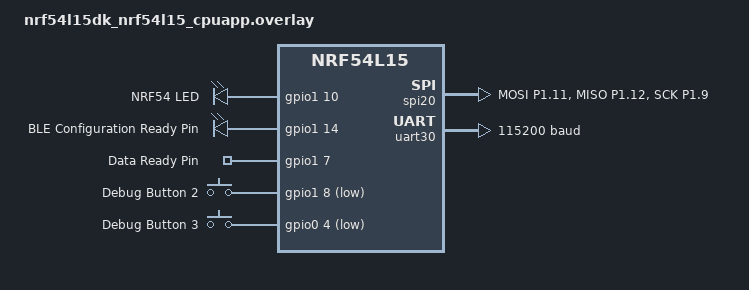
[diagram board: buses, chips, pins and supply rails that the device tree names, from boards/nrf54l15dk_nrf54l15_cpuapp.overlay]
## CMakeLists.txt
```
#
# Copyright (c) 2018 Nordic Semiconductor
#
# SPDX-License-Identifier: LicenseRef-Nordic-5-Clause
#
cmake_minimum_required(VERSION 3.20.0)

find_package(Zephyr REQUIRED HINTS $ENV{ZEPHYR_BASE})
project(us_probe)

# NORDIC SDK APP START
target_sources(app PRIVATE
    src/main.c
    src/ble.c
    src/mesh.c
    src/spi.c
    src/helper.c
    src/testfunctions.c
    src/timehelper.c
)
target_include_directories(app PRIVATE include)
# NORDIC SDK APP END
```

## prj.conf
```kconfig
# Debugging
# CONFIG_DEBUG=y
# CONFIG_DEBUG_THREAD_INFO=y
# CONFIG_CORTEX_M_DEBUG_MONITOR_HOOK=y
# CONFIG_SEGGER_DEBUGMON=y
# DEBUG_COREDUMP=y
# DEBUG_COREDUMP_BACKEND_LOGGING=y

# Show Utilization
# CONFIG_THREAD_ANALYZER=y
# CONFIG_THREAD_ANALYZER_USE_PRINTK=y
# CONFIG_THREAD_ANALYZER_AUTO=y
# CONFIG_THREAD_ANALYZER_AUTO_INTERVAL=5

# Enable BT
CONFIG_BT=y
CONFIG_BT_DEVICE_NAME="WULPUS unprovisioned"
CONFIG_BT_DEVICE_NAME_DYNAMIC=y
CONFIG_BT_DEVICE_NAME_MAX=32
CONFIG_BT_NUS=y
CONFIG_BT_PERIPHERAL=y
CONFIG_BT_OBSERVER=y
CONFIG_BT_BROADCASTER=y
CONFIG_BT_GAP_AUTO_UPDATE_CONN_PARAMS=y
CONFIG_BT_CTLR_PRIVACY=n
# Enable storing settings in flash
CONFIG_BT_SETTINGS=y
CONFIG_FLASH=y
CONFIG_FLASH_PAGE_LAYOUT=y
CONFIG_FLASH_MAP=y
CONFIG_NVS=y
CONFIG_SETTINGS=y
CONFIG_SETTINGS_NVS=y
CONFIG_SOC_FLASH_NRF=y
CONFIG_MPU_ALLOW_FLASH_WRITE=y
# Use NVS backend for settings, not PSA storage
CONFIG_MBEDTLS_PSA_CRYPTO_STORAGE_C=n
# Optimizing for high throughput
CONFIG_BT_USER_PHY_UPDATE=y
CONFIG_BT_PERIPHERAL_PREF_MIN_INT=6
CONFIG_BT_PERIPHERAL_PREF_MAX_INT=10
CONFIG_BT_PERIPHERAL_PREF_LATENCY=0
CONFIG_BT_PERIPHERAL_PREF_TIMEOUT=400
CONFIG_BT_ATT_PREPARE_COUNT=5
CONFIG_BT_CTLR_PHY_2M=y
# Enable longer BT messages
CONFIG_BT_L2CAP_TX_MTU=220
CONFIG_BT_BUF_ACL_TX_SIZE=224
CONFIG_BT_BUF_ACL_RX_SIZE=230
CONFIG_BT_CTLR_DATA_LENGTH_MAX=211

# Enable BT Mesh
CONFIG_BT_MESH=y
CONFIG_BT_MESH_MODEL_EXTENSIONS=y
CONFIG_BT_MESH_RELAY=y
CONFIG_BT_MESH_FRIEND=y
CONFIG_BT_MESH_PB_GATT=y
CONFIG_BT_MESH_PB_ADV=y
CONFIG_BT_MESH_GATT_PROXY=y
CONFIG_BT_MESH_PROXY_USE_DEVICE_NAME=n
CONFIG_BT_MESH_TIME_SRV=y
CONFIG_BT_MESH_TIME_SRV_PERSISTENT=y
CONFIG_BT_MESH_TIME_CLI=y
CONFIG_BT_MESH_DEFAULT_TTL=7
CONFIG_BT_MESH_DK_PROV=y
# Allow self-provisioning
CONFIG_BT_MESH_CFG_CLI=y
CONFIG_BT_MESH_TX_SEG_MAX=32
CONFIG_BT_MESH_TX_SEG_MSG_COUNT=100
CONFIG_BT_MESH_RX_SEG_MAX=32
CONFIG_BT_MESH_RX_SEG_MSG_COUNT=100
CONFIG_BT_MESH_ADV_BUF_COUNT=256
# Decrese rettrasnmit attempts to reduce congestion
CONFIG_BT_MESH_NETWORK_TRANSMIT_COUNT=1
# Increase (system workqueue) stack for BLE Mesh
CONFIG_SYSTEM_WORKQUEUE_STACK_SIZE=4096
CONFIG_BT_MESH_ADV_STACK_SIZE=4096
CONFIG_BT_RX_STACK_SIZE=4096
# Allow parallel GATT and Mesh
CONFIG_BT_EXT_ADV=y
CONFIG_BT_MAX_CONN=3
CONFIG_BT_ID_MAX=2
# (5 sets are used by Bluetooth Mesh, 1 is needed for the GATT advertisement)
CONFIG_BT_EXT_ADV_MAX_ADV_SET=6 
# (Enable Hardware Info for Bluetooth ID)
CONFIG_HWINFO=y

CONFIG_BT_PRIVACY=n
# Enable GPIO
CONFIG_GPIO=y

# Log to RTT
CONFIG_LOG=y
CONFIG_LOG_DEFAULT_LEVEL=3
CONFIG_USE_SEGGER_RTT=y
CONFIG_LOG_BACKEND_RTT=y
CONFIG_LOG_PRINTK=y
CONFIG_RTT_CONSOLE=y

CONFIG_MAIN_STACK_SIZE=4096
CONFIG_SEGGER_RTT_BUFFER_SIZE_UP=4096


# Enable Asserts
CONFIG_ASSERT=y

# Memory optimization
# CONFIG_MAIN_STACK_SIZE=512
# CONFIG_IDLE_STACK_SIZE=256   
```

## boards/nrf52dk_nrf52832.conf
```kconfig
# Board-specific configuration
# Enable SPI Master role at SPI1
CONFIG_NRFX_SPIM1=y

# Enable PPI (Programmable Peripheral Interconnect)
CONFIG_NRFX_PPI=y
```

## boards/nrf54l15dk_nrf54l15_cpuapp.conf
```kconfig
# Board-specific configuration for nRF54L15
# Enable SPI Master role at SPIM20 (nRF54L15 doesn't have SPIM1)
CONFIG_NRFX_SPIM20=y
```

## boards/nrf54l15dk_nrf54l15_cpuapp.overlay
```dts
/ {
    aliases {
        led0 = &led_nrf54;
        data-ready = &data_ready_pin;
        ble-cnfg-ready = &ble_cnfg_ready_pin;
        spi-conn = &spi20;
    };

    chosen {
        // Override default console/shell to use UART30 instead of UART20
        // This allows SPI20 to be used without conflict
        zephyr,console = &uart30;
        zephyr,shell-uart = &uart30;
        zephyr,uart-mcumgr = &uart30;
        zephyr,bt-mon-uart = &uart30;
        zephyr,bt-c2h-uart = &uart30;
        nordic,nus-uart = &uart30;
    };

    leds {
        compatible = "gpio-leds";
        led_nrf54: led_nrf54 {
            gpios = <&gpio1 10 GPIO_ACTIVE_HIGH>;
            label = "NRF54 LED";
        };

        ble_cnfg_ready_pin: ble_cnfg_ready_pin {
            gpios = <&gpio1 14 GPIO_ACTIVE_HIGH>;
            label = "BLE Configuration Ready Pin";
        };
    };

    buttons {
        compatible = "gpio-keys";
        data_ready_pin: data_ready_pin {
            gpios = <&gpio1 7 (GPIO_ACTIVE_HIGH | GPIO_PULL_DOWN)>;
            label = "Data Ready Pin";
        };
        dbg_button_2: dbg_button_2 {
            gpios = <&gpio1 8 (GPIO_ACTIVE_LOW | GPIO_PULL_UP)>;
            label = "Debug Button 2";
        };
        dbg_button_3: dbg_button_3 {
            gpios = <&gpio0 4 (GPIO_ACTIVE_LOW | GPIO_PULL_UP)>;
            label = "Debug Button 3";
        };
    };
};

&pinctrl {
    spi_master_default: spi_master_default {
        group1 {
            psels = <NRF_PSEL(SPIM_MOSI, 1, 11)>,
                    <NRF_PSEL(SPIM_MISO, 1, 12)>,
                    <NRF_PSEL(SPIM_SCK, 1, 9)>;
        };
    };

    spi_master_sleep: spi_master_sleep {
        group1 {
            psels = <NRF_PSEL(SPIM_MOSI, 1, 11)>,
                    <NRF_PSEL(SPIM_MISO, 1, 12)>,
                    <NRF_PSEL(SPIM_SCK, 1, 9)>;
            low-power-enable;
        };
    };
};

&uart20 {
    status = "disabled";
};

&spi20 {
    status = "okay";
    compatible = "nordic,nrf-spim";
    pinctrl-0 = <&spi_master_default>;
    pinctrl-1 = <&spi_master_sleep>;
    pinctrl-names = "default", "sleep";
};

// UART30 for console/shell/RTT (has default pinctrl)
&uart30 {
    status = "okay";
    current-speed = <115200>;
};
```

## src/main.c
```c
#include <bluetooth/mesh/models.h>
#include <bluetooth/services/nus.h>
#include <stdlib.h>
#include <zephyr/bluetooth/bluetooth.h>
#include <zephyr/bluetooth/mesh.h>
#include <zephyr/drivers/gpio.h>
#include <zephyr/drivers/hwinfo.h>
#include <zephyr/kernel.h>
#include <zephyr/logging/log.h>
#include <zephyr/settings/settings.h>

#include "ble.h"
#include "helper.h"
#include "main.h"
#include "mesh.h"
#include "spi.h"
#include "testfunctions.h"

LOG_MODULE_REGISTER(main);

// --- GPIOs ---
const struct gpio_dt_spec ble_cnfg_ready =
    GPIO_DT_SPEC_GET(BLE_CNFG_READY_NODE, gpios);
const struct gpio_dt_spec led = GPIO_DT_SPEC_GET(LED_NODE, gpios);
const struct gpio_dt_spec data_ready = GPIO_DT_SPEC_GET(DATA_READY_NODE, gpios);
const struct gpio_dt_spec dbg_button_2 =
    GPIO_DT_SPEC_GET(DBG_BUTTON_2_NODE, gpios);
const struct gpio_dt_spec dbg_button_3 =
    GPIO_DT_SPEC_GET(DBG_BUTTON_3_NODE, gpios);

// callback for data-ready GPIO interrupt, triggering SPIM transfer
struct gpio_callback data_ready_cb;
struct gpio_callback dbg_button_2_cb;
struct gpio_callback dbg_button_3_cb;

int64_t last_gpio_interrupt_time = 0;
static void gpio_interrupt_handler(const struct device *dev,
                                   struct gpio_callback *cb, uint32_t pins)
{
    int64_t const dt_now = k_uptime_get();
    int64_t const delta = dt_now - last_gpio_interrupt_time;
    LOG_INF("GPIO interrupt - dt since last: %lldms", delta);
    LOG_DBG("GPIO interrupt data_ready: trigger SPI session thread");
    if (delta < MIN_INTERRUPT_INTERVAL_MS)
    {
        LOG_WRN("Ignoring spurious interrupt (dt=%lldms < %dms)", delta,
                MIN_INTERRUPT_INTERVAL_MS);
        return;
    }
    last_gpio_interrupt_time = dt_now;
    k_sem_give(&data_ready_trigger_sem);
}

static void button_2_work_handler(struct k_work *work)
{
    LOG_INF("Button 2 pressed");
    LOG_INF("Sending start-config");
    uint8_t mock_config[] = {0x01, 0x02, 0x03, 0x04, 0x05, 0x06, 0x07, 0x08,
                             0x09, 0x0A, 0x0B, 0x0C, 0x0D, 0x0E, 0x0F, 0x10};
    mesh_publish_config(mock_config, sizeof(mock_config));
    apply_config(mock_config, sizeof(mock_config));
}

K_WORK_DEFINE(button_2_work, button_2_work_handler);

static void button_3_work_handler(struct k_work *work)
{
    LOG_INF("Button 3 pressed");
    LOG_INF("Sending stop-config");
    uint8_t mock_config[] = {0x00, 0x00, 0x00, 0x00, 0x00, 0x00, 0x00, 0x00,
                             0x00, 0x00, 0x00, 0x00, 0x00, 0x00, 0x00, 0x00,
                             0x00, 0x00, 0x00, 0x00, 0x00, 0x00, 0x00, 0x00};
    mesh_publish_config(mock_config, sizeof(mock_config));
    apply_config(mock_config, sizeof(mock_config));
}

K_WORK_DEFINE(button_3_work, button_3_work_handler);

static void dbg_button_2_handler(const struct device *dev,
                                 struct gpio_callback *cb, uint32_t pins)
{
    k_work_submit(&button_2_work);
}

static void dbg_button_3_handler(const struct device *dev,
                                 struct gpio_callback *cb, uint32_t pins)
{
    k_work_submit(&button_3_work);
}

// --- Mesh -------------------------------------
uint16_t addr;
static const uint16_t net_idx;
static const uint32_t iv_index;
static uint8_t flags;

// --- MAIN -------------------------------------
K_THREAD_DEFINE(ble_tx_thread_id, 2048, ble_tx_thread, NULL, NULL, NULL,
                BLE_TASK_PRIO, 0, 0);
K_THREAD_DEFINE(mesh_tx_thread_id, 4096 * 2, mesh_tx_thread, NULL, NULL, NULL,
                MESH_TX_TASK_PRIO, 0, 0);
K_THREAD_DEFINE(spi_session_thread_id, 2048, spi_session_thread, NULL, NULL,
                NULL, SPI_TASK_PRIO, 0, 0);
K_THREAD_DEFINE(mesh_rand_sender_thread_id, 2048, mesh_rand_sender_thread, NULL,
                NULL, NULL, 7, 0, 0);

int main(void)
{
    LOG_WRN("Start-delay 5s");
    k_sleep(K_MSEC(5000));

    LOG_INF("Starting WULPUS nRF Firmware (%s)", CONFIG_BOARD);
    int err;

    LOG_INF("Initializing GPIOs...");
    if (!gpio_is_ready_dt(&led) || !gpio_is_ready_dt(&data_ready) ||
        !gpio_is_ready_dt(&ble_cnfg_ready) || !gpio_is_ready_dt(&dbg_button_2) ||
        !gpio_is_ready_dt(&dbg_button_3))
    {
        LOG_ERR("GPIO devices not ready.");
        return 0;
    }
    err = gpio_pin_configure_dt(&led, GPIO_OUTPUT_LOW) |
          gpio_pin_configure_dt(&ble_cnfg_ready, GPIO_OUTPUT_LOW) |
          gpio_pin_configure_dt(&data_ready, GPIO_INPUT) |
          gpio_pin_configure_dt(&dbg_button_2, GPIO_INPUT) |
          gpio_pin_configure_dt(&dbg_button_3, GPIO_INPUT);
    if (err < 0)
    {
        LOG_ERR("Error configuring GPIO pins");
        return 0;
    }

    // Register callback first, then enable interrupt to avoid missing edges
    // during setup
    LOG_INF("Setting up data-ready callback");
    gpio_init_callback(&data_ready_cb, gpio_interrupt_handler,
                       BIT(data_ready.pin));
    err = gpio_add_callback_dt(&data_ready, &data_ready_cb);
    if (err)
    {
        LOG_ERR("Error setting up callback: %d", err);
        return err;
    }

    gpio_init_callback(&dbg_button_2_cb, dbg_button_2_handler,
                       BIT(dbg_button_2.pin));
    gpio_add_callback_dt(&dbg_button_2, &dbg_button_2_cb);
    gpio_pin_interrupt_configure_dt(&dbg_button_2, GPIO_INT_EDGE_TO_ACTIVE);

    gpio_init_callback(&dbg_button_3_cb, dbg_button_3_handler,
                       BIT(dbg_button_3.pin));
    gpio_add_callback_dt(&dbg_button_3, &dbg_button_3_cb);
    gpio_pin_interrupt_configure_dt(&dbg_button_3, GPIO_INT_EDGE_TO_ACTIVE);

    LOG_INF("Initializing settings subsystem");
    err = settings_subsys_init();
    if (err)
    {
        LOG_ERR("Failed to initialize settings subsystem: %d\n", err);
        return err;
    }

    LOG_INF("Setting up Bluetooth LE");
    err = bt_nus_init(&nus_callbacks);
    if (err)
    {
        LOG_ERR("Failed to register Bluetooth NUS callback: %d\n", err);
        return err;
    }
    err = bt_enable(NULL);
    if (err)
    {
        LOG_ERR("Failed to enable Bluetooth: %d\n", err);
        return err;
    }

    LOG_INF("Reading config to prepare for Bluetooth LE Mesh");

    if (IS_ENABLED(CONFIG_HWINFO))
    {
        size_t id_len = hwinfo_get_device_id(dev_uuid, 16);
        if (!IS_ENABLED(CONFIG_BT_MESH_DK_LEGACY_UUID_GEN))
        {
            /* If device ID is shorter than UUID size, fill rest of buffer with
             * inverted device ID.
             */
            for (size_t i = id_len; i < 16; i++)
            {
                dev_uuid[i] = dev_uuid[i % id_len] ^ 0xff;
            }
        }
        dev_uuid[6] = (dev_uuid[6] & BIT_MASK(4)) | BIT(6);
        dev_uuid[8] = (dev_uuid[8] & BIT_MASK(6)) | BIT(7);
    }
    else
    {
        LOG_ERR("HWINFO not enable - fallback to default UUID!");
        dev_uuid[0] = 0xdd;
        dev_uuid[1] = 0xdd;
    }
    LOG_INF(
        "Mesh Device UUID: "
        "%02X%02X%02X%02X-%02X%02X-%02X%02X-%02X%02X-%02X%02X%02X%02X%02X%02X",
        dev_uuid[0], dev_uuid[1], dev_uuid[2], dev_uuid[3], dev_uuid[4],
        dev_uuid[5], dev_uuid[6], dev_uuid[7], dev_uuid[8], dev_uuid[9],
        dev_uuid[10], dev_uuid[11], dev_uuid[12], dev_uuid[13], dev_uuid[14],
        dev_uuid[15]);

    char uuid_str[5] = {0};
    snprintf(uuid_str, sizeof(uuid_str), "%02X%02X", dev_uuid[14], dev_uuid[15]);
    addr = (uint16_t)strtol(uuid_str, NULL, 16) & 0x7fff;
    if (addr == 0)
    {
        addr = 1;
    }
    LOG_INF("Using address: 0x%04x (derived from bytes 14-15: %02X%02X)", addr,
            dev_uuid[14], dev_uuid[15]);

    LOG_INF("Initializing GATT device name...");
    ble_init_device_name(addr);

    LOG_INF("Setting up BLE Mesh");
    err = bt_mesh_init(&prov, &comp);
    if (err)
    {
        LOG_ERR("Initializing mesh failed (err %d)\n", err);
        return err;
    }
    if (IS_ENABLED(CONFIG_BT_SETTINGS))
    {
        LOG_INF("restoring the Bluetooth state (e.g. pairing keys)");
        settings_load();
    }
    else
    {
        LOG_WRN("CONFIG_BT_SETTINGS not enabled - won't restore Bluetooth state");
    }

    k_sleep(K_MSEC(100));
    if (!bt_mesh_is_provisioned())
    {
        LOG_INF("Mesh not provisioned yet - self-provisioning now");
        err = bt_mesh_provision(net_key, net_idx, flags, iv_index, addr, dev_key);
    }
    else
    {
        LOG_INF("Mesh already provisioned, using stored settings");
    }
    if (err == -EALREADY)
    {
        LOG_WRN("Using stored settings - configuration already exists");
        // Request gateway address since prov_complete won't be called
        mesh_request_gateway_addr();
    }
    else if (err)
    {
        LOG_ERR("Provisioning failed (err %d)", err);
        return err;
    }
    else
    {
        LOG_INF("Provisioning completed - configuration will be done in prov_complete callback");
    }

    /* This will be a no-op if settings_load() loaded provisioning info */
    bt_mesh_prov_enable(
        (bt_mesh_prov_bearer_t)(BT_MESH_PROV_ADV | BT_MESH_PROV_GATT));

    LOG_INF("Mesh initialized");

    LOG_INF("Starting BLE advertisement");
    err = start_advertise();
    if (err)
    {
        return err;
    }

    us_spi_init();

    // Enable interrupt on rising edge (SPI thread already running)
    err = gpio_pin_interrupt_configure_dt(&data_ready, GPIO_INT_EDGE_TO_ACTIVE);
    if (err < 0)
    {
        LOG_ERR("Error configuring interrupt: %d", err);
        return 0;
    }

    // Initial check if pin is already active -> manually trigger the interrupt
    // (as edge has already passed)
    if (gpio_pin_get_dt(&data_ready) > 0)
    {
        LOG_INF(
            "MSP has data already ready. Triggering data_ready_cb manually once.");
        gpio_interrupt_handler(data_ready.port, &data_ready_cb,
                               BIT(data_ready.pin));
    }

    while (1)
    {
        k_sleep(K_MSEC(1000));
        gpio_pin_toggle_dt(&led);
    }

    return 0;
}
```

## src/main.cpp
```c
#include <zephyr/device.h>
#include <zephyr/devicetree.h>
#include <zephyr/kernel.h>
#include <zephyr/logging/log.h>
#include <zephyr/irq.h>
#include <zephyr/bluetooth/bluetooth.h>
#include <zephyr/bluetooth/mesh.h>
#include <bluetooth/services/nus.h>
#include <zephyr/drivers/hwinfo.h>
#include <nrfx_spim.h>
#include <nrfx_timer.h>
#include <nrfx_ppi.h>
#include <string.h>
#include <zephyr/drivers/gpio.h>
#include <hal/nrf_timer.h>
#include <hal/nrf_spim.h>

#include "main.h"
#include "testfunctions.h"

const struct gpio_dt_spec ble_cnfg_ready = GPIO_DT_SPEC_GET(BLE_CNFG_READY_NODE, gpios);
const struct gpio_dt_spec led = GPIO_DT_SPEC_GET(LED_NODE, gpios);
const struct gpio_dt_spec data_ready = GPIO_DT_SPEC_GET(DATA_READY_NODE, gpios);

LOG_MODULE_REGISTER(main);

static K_MUTEX_DEFINE(tx_buffer_mutex);

// --- SPIM -------------------------------------
static uint8_t m_tx_buffer[BYTES_PR_XFER_TX * CHUNKS_PER_FRAME] = {0};
static uint8_t m_rx_buffer[BYTES_PR_XFER_RX * CHUNKS_PER_FRAME] = {0};

static const nrfx_spim_t spim_inst = NRFX_SPIM_INSTANCE(SPIM_INST_IDX);

// Semaphore to serialize sessions triggered by the data-ready IRQ
static struct k_sem single_session;
// Semaphore signaled on SPI transfer completion
static struct k_sem spi_done_sem;
// Semaphore to trigger SPI session thread from GPIO interrupt
static K_SEM_DEFINE(data_ready_trigger_sem, 0, 1);

static void spim_handler(nrfx_spim_evt_t const *p_event, void *p_context)
{
    if (p_event->type == NRFX_SPIM_EVENT_DONE)
    {
        // Signal that transfer is complete
        k_sem_give(&spi_done_sem);
    }
}

static void us_spi_init(void)
{
    LOG_INF("Starting SPI initialization");
    nrfx_err_t err;

    // Initialize SPIM
    nrfx_spim_config_t spim_config = NRFX_SPIM_DEFAULT_CONFIG(SCK_PIN,
                                                              MOSI_PIN,
                                                              MISO_PIN,
                                                              SS_PIN);
    spim_config.frequency = NRFX_MHZ_TO_HZ(8);
    spim_config.mode = NRF_SPIM_MODE_1;
    spim_config.bit_order = NRF_SPIM_BIT_ORDER_MSB_FIRST;
    spim_config.irq_priority = SPI_1_PRIO;
    err = nrfx_spim_init(&spim_inst, &spim_config, spim_handler, nullptr);
    if (err != NRFX_SUCCESS)
    {
        LOG_ERR("Failed to initialize SPIM instance %d with err: %d", SPIM_INST_IDX, err);
        return;
    }

    IRQ_DIRECT_CONNECT(NRFX_IRQ_NUMBER_GET(NRF_SPIM_INST_GET(SPIM_INST_IDX)), IRQ_PRIO_LOWEST,
                       NRFX_SPIM_INST_HANDLER_GET(SPIM_INST_IDX), 0);
    irq_enable(NRFX_IRQ_NUMBER_GET(NRF_SPIM_INST_GET(SPIM_INST_IDX)));

    // Initialize semaphores
    k_sem_init(&spi_done_sem, 0, CHUNKS_PER_FRAME);
    k_sem_init(&single_session, 1, 1);

    LOG_INF("SPI init complete");
}

// callback for data-ready GPIO interrupt, triggering SPIM transfer
static struct gpio_callback data_ready_cb;

// --- Bluetooth LE -----------------------------
static K_SEM_DEFINE(ble_tx_ready_sem, 1, 1);
struct bt_conn *current_conn;
static uint8_t ble_conn_id;

static const struct bt_data ad[] = {
    BT_DATA_BYTES(BT_DATA_FLAGS, (BT_LE_AD_GENERAL | BT_LE_AD_NO_BREDR)),
    BT_DATA(BT_DATA_NAME_COMPLETE, DEVICE_NAME, DEVICE_NAME_LEN),
};
static const struct bt_data sd[] = {
    BT_DATA_BYTES(BT_DATA_UUID128_ALL, BT_UUID_NUS_VAL),
};

K_MSGQ_DEFINE(ble_tx_msgq, sizeof(struct ble_data_t), BLE_TX_QUEUE_SIZE, 4);

int start_advertise(void)
{
    LOG_INF("starting advertising...");
    size_t id_count = 0xFF;
    struct bt_le_adv_param adv_params = *BT_LE_EXT_ADV_START_DEFAULT;
    (void)bt_id_get(NULL, &id_count);
    if (id_count < CONFIG_BT_ID_MAX)
    {
        int id = bt_id_create(NULL, NULL);
        if (id < 0)
        {
            LOG_WRN("Unable to create a new identity for LBS (err %d) -> Using default one", id);
            ble_conn_id = BT_ID_DEFAULT;
        }
        else
        {
            ble_conn_id = id;
        }
    }
    else
    {
        ble_conn_id = BT_ID_DEFAULT + 1;
    }
    adv_params.id = ble_conn_id;
    LOG_INF("Using BLE identity ID: %d", ble_conn_id);

    int err = bt_le_adv_start(&adv_params, ad, ARRAY_SIZE(ad), sd, ARRAY_SIZE(sd));
    if (err)
    {
        LOG_ERR("Advertising failed to start (err %d)", err);
        if (err == -ENOMEM)
        {
            LOG_ERR(" - No free connection objects available for connectable advertiser");
        }
        else if (err == -ECONNREFUSED)
        {
            LOG_ERR(" - Connection refused - too many connections?");
        }
    }
    return err;
}

static void bt_received(struct bt_conn *conn, const uint8_t *const data, uint16_t len)
{
    LOG_INF("Received data over BLE (NUS). Len: %d", len);
    LOG_HEXDUMP_INF(data, len, "NUS RX");

    k_mutex_lock(&tx_buffer_mutex, K_FOREVER);
    memset(m_tx_buffer, 0, sizeof(m_tx_buffer)); // Clear old data
    memcpy(m_tx_buffer, data, len);
    k_mutex_unlock(&tx_buffer_mutex);

    LOG_INF("Inform MSP about new configuration (ble_cnfg_ready to high)");
    int err = gpio_pin_set_dt(&ble_cnfg_ready, 1);
    if (err)
    {
        LOG_ERR("Failed to set BLE configuration ready pin: %d", err);
    }
}

static void update_phy(struct bt_conn *conn)
{
    int err;
    const struct bt_conn_le_phy_param preferred_phy = {
        .options = BT_CONN_LE_PHY_OPT_NONE,
        .pref_tx_phy = BT_GAP_LE_PHY_2M,
        .pref_rx_phy = BT_GAP_LE_PHY_2M};
    err = bt_conn_le_phy_update(conn, &preferred_phy);
    if (err)
    {
        LOG_ERR("bt_conn_le_phy_update() returned %d", err);
    }
}

static void connected(struct bt_conn *conn, uint8_t err)
{
    if (err)
    {
        LOG_ERR("Connection failed (err %u)", err);
        return;
    }
    LOG_INF("BLE connection established");
    current_conn = bt_conn_ref(conn);
    update_phy(conn);
    k_sleep(K_MSEC(100)); // wait a bit for connection to stabilize
    struct bt_conn_info info;
    bt_conn_get_info(conn, &info);
    LOG_INF("Connection interval: %d units (x1.25 for ms)", info.le.interval);
}

static void disconnected(struct bt_conn *conn, uint8_t reason)
{
    LOG_INF("BLE disconnected (reason %u)", reason);
    gpio_pin_set_dt(&ble_cnfg_ready, 0);
}

static void bt_sent(struct bt_conn *conn)
{
    // Called when BLE radio finishes transmitting
    k_sem_give(&ble_tx_ready_sem);
}

static void bt_recycle(void)
{
    LOG_INF("Disconnect complete! Restarting advertisement...");
    start_advertise();
}

BT_CONN_CB_DEFINE(conn_callbacks) = {
    .connected = connected,
    .disconnected = disconnected,
    .recycled = bt_recycle,
};
struct bt_nus_cb nus_callbacks = {
    .received = bt_received,
    .sent = bt_sent,
};

// --- BLE Mesh -------------------------------------

/* Provisioning */

static uint8_t dev_uuid[16] = {0};

static int output_number(bt_mesh_output_action_t action, uint32_t number)
{
    LOG_INF("OOB Number: %u\n", number);
    return 0;
}

static void prov_complete(uint16_t net_idx, uint16_t addr)
{
    LOG_INF("Provisioning completed with net_idx: 0x%04x, addr: 0x%04x", net_idx, addr);
}

static void prov_reset(void)
{
    bt_mesh_prov_enable(static_cast<bt_mesh_prov_bearer_t>(BT_MESH_PROV_GATT | BT_MESH_PROV_ADV));
    LOG_WRN("The local node has been reset and needs reprovisioning");
}

static const struct bt_mesh_prov prov = {
    .uuid = dev_uuid,
    .output_size = 4,
    .output_actions = BT_MESH_DISPLAY_NUMBER,
    .output_number = output_number,
    .complete = prov_complete,
    .reset = prov_reset,
};

/* Composition */
static const struct bt_mesh_elem elements[] = {
    {
        .loc = BT_MESH_MODEL_ID_GEN_LOCATION_SRV,
        .model_count = 0,
        .vnd_model_count = 0,
        .models = nullptr,
        .vnd_models = nullptr,
    },
};

static const struct bt_mesh_comp comp = {
    .cid = BT_COMP_ID_LF,
    .elem_count = ARRAY_SIZE(elements),
    .elem = elements,
};

// --- Threads -------------------------------

// SPI session thread - dedicated high-priority thread for SPI transfers
static void spi_session_thread(void)
{
    LOG_INF("SPI session thread spawned");

    while (1)
    {
        // Wait for GPIO interrupt to trigger a session
        LOG_INF("Waiting for SPI trigger...");
        k_sem_take(&data_ready_trigger_sem, K_FOREVER);
        LOG_INF("SPI session thread activated");

        // Ensure only one read session runs at a time (serialize sessions)
        if (k_sem_take(&single_session, K_NO_WAIT) != 0)
        {
            LOG_WRN("SPI session already in progress; skipping trigger");
            continue;
        }

        LOG_INF("Starting SPI session - single 804-byte transfer");

        // Single transfer for all 804 bytes (4 * 201)
        // Hardware limitation is 255 bytes per transfer, so we still need multiple calls
        // BUT we set up the descriptor once per session
        nrfx_spim_xfer_desc_t xfer = NRFX_SPIM_XFER_TRX(
            m_tx_buffer, BYTES_PR_XFER_TX,
            m_rx_buffer, BYTES_PR_XFER_RX);

        bool xfer_failed = false;
        for (int i = 0; i < CHUNKS_PER_FRAME; i++)
        {
            // Update pointers for this chunk (manual increment since HW has 255-byte limit)
            xfer.p_tx_buffer = &m_tx_buffer[i * BYTES_PR_XFER_TX];
            xfer.p_rx_buffer = &m_rx_buffer[i * BYTES_PR_XFER_RX];

            nrfx_err_t nerr = nrfx_spim_xfer(&spim_inst, &xfer, NRFX_SPIM_FLAG_REPEATED_XFER);
            if (nerr != NRFX_SUCCESS)
            {
                LOG_ERR("SPI xfer %d start failed: %d", i, nerr);
                xfer_failed = true;
                break;
            }

            // Wait for this chunk to complete
            if (k_sem_take(&spi_done_sem, K_MSEC(100)) != 0)
            {
                LOG_ERR("SPI xfer %d timeout", i);
                xfer_failed = true;
                break;
            }
        }

        if (!xfer_failed)
        {
            LOG_INF("SPI session complete");
            LOG_INF("SPI RX: SOF=0x%02X, tx_rx_id=%d, frame_nr=%d",
                    m_rx_buffer[0],
                    m_rx_buffer[1],
                    (m_rx_buffer[3] << 8) | m_rx_buffer[2]);

            bool all_zero = true;
            for (int i = 4; i < 100; i++)
            {
                if (m_rx_buffer[i] != 0)
                {
                    all_zero = false;
                    break;
                }
            }
            if (all_zero)
            {
                LOG_WRN("Frame appears to be empty/stopped - NOT enqueueing");
                k_sem_give(&single_session);
                continue; // Don't enqueue empty frames
            }

            // Build one full frame and enqueue as a single item
            ble_data_t tx_item = {};
            tx_item.len = BLE_PCKT_SEND_SIZE;
            memcpy(&tx_item.data, m_rx_buffer, BLE_PCKT_SEND_SIZE);

            uint8_t queue_used = BLE_TX_QUEUE_SIZE - k_msgq_num_free_get(&ble_tx_msgq);
            LOG_INF("BLE queue depth used: %d/%d", queue_used, BLE_TX_QUEUE_SIZE);

            int qerr = k_msgq_put(&ble_tx_msgq, &tx_item, K_MSEC(10));
            if (qerr != 0)
            {
                LOG_WRN("BLE TX queue full; dropping full frame (err %d)", qerr);
            }
        }
        // Release session gate
        k_sem_give(&single_session);
    }
}

int64_t last_gpio_interrupt_time{0};
static void gpio_interrupt_handler(const struct device *dev, struct gpio_callback *cb, uint32_t pins)
{
    int64_t const dt_now = k_uptime_get();
    int64_t const delta = dt_now - last_gpio_interrupt_time;
    LOG_INF("GPIO interrupt - dt since last: %lldms", delta);
    LOG_DBG("GPIO interrupt data_ready: trigger SPI session thread");
    if (delta < MIN_INTERRUPT_INTERVAL_MS)
    {
        LOG_WRN("Ignoring spurious interrupt (dt=%lldms < %dms)",
                delta, MIN_INTERRUPT_INTERVAL_MS);
        return;
    }
    last_gpio_interrupt_time = dt_now;
    k_sem_give(&data_ready_trigger_sem);
}

static void ble_tx_thread(void)
{
    LOG_INF("BLE TX thread spawned and waiting for data to send...");
    static struct ble_data_t tx_data;      // static to reduce stack usage
    static int64_t last_success_ts_ms = 0; // time of last successful full-frame send

    int slow_counter = 0;
    int64_t slow_last_send_time_ms = k_uptime_get();
    while (1)
    {
        k_msgq_get(&ble_tx_msgq, &tx_data, K_FOREVER);
        LOG_INF("BLE TX thread got frame (len %d) (waited %lldms for queue)", tx_data.len, k_uptime_get() - last_gpio_interrupt_time);
        if (tx_data.len != BLE_PCKT_SEND_SIZE)
        {
            LOG_ERR("Unexpected frame size %d (expected %d)", tx_data.len, BLE_PCKT_SEND_SIZE);
            continue;
        }
        // Send the frame in 201 byte chunks (202 bytes for the first to signalize start, the last byte is irrelevant)
        bool full_frame_sent = true;
        for (unsigned i{0}; i < CHUNKS_PER_FRAME; i++)
        {
            uint16_t message_len = (i > 0) ? BYTES_PR_XFER_RX : BYTES_PR_XFER_RX + 1;
            int err;
            unsigned retries = 10;
            do
            {
                err = bt_nus_send(current_conn, &tx_data.data[i * BYTES_PR_XFER_RX], message_len);
                if (err == -ENOBUFS || err == -EAGAIN)
                {
                    /* Controller/host back-pressure: wait a bit and retry */
                    LOG_DBG("BLE backpressure on chunk %u, retrying (%u left)...", i, retries);
                    k_yield();
                    continue;
                }
                if (err)
                {
                    LOG_WRN("BLE send failed (chunk %u) with err: %d - retrying (%u left)....", i, err, retries);
                    k_sleep(K_USEC(50));
                    continue;
                }
                // Success - break out of retry loop
                break;
            } while (--retries > 0);
            if (err)
            {
                LOG_WRN("BLE: All retries failed to send chunk %u (err %d)", i, err);
                full_frame_sent = false;
                break; // drop remaining part of message
            }
        }

        if (full_frame_sent)
        {
            int64_t now_ms = k_uptime_get();
            if (last_success_ts_ms != 0)
            {
                int64_t delta_ms = now_ms - last_success_ts_ms;
                LOG_INF("BLE: full frame sent. dt since last success: %lld ms", (long long)delta_ms);
            }
            else
            {
                LOG_INF("BLE: full frame sent. First successful frame");
            }
            last_success_ts_ms = now_ms;

            slow_counter++;
            if (slow_counter % 20 == 0)
            {
                int64_t time_since_last_slow_ms = now_ms - slow_last_send_time_ms;
                if (time_since_last_slow_ms <= 0)
                {
                    LOG_WRN("BLE: Sent 20 full frames. Average rate unavailable (dt=%lld ms)",
                            (long long)time_since_last_slow_ms);
                }
                else
                {
                    uint32_t fps = (uint32_t)(((uint64_t)20 * 1000U + time_since_last_slow_ms / 2) /
                                              (uint64_t)time_since_last_slow_ms);
                    LOG_WRN("BLE: Sent 20 full frames. Average rate: %u fps", fps);
                }
                slow_last_send_time_ms = now_ms;
            }
        }
    }
}

// --- MAIN -------------------------------------
K_THREAD_DEFINE(ble_tx_thread_id, 1024, ble_tx_thread, NULL, NULL, NULL, BLE_TASK_PRIO, 0, 0);
// K_THREAD_DEFINE(spi_session_thread_id, 1024, spi_session_thread, NULL, NULL, NULL, SPI_TASK_PRIO, 0, 0);
K_THREAD_DEFINE(ble_random_send_thread, 1024, rand_sender_thread, &ble_tx_msgq, NULL, NULL, 7, 0, 0);
int main(void)
{
    LOG_WRN("Start-delay 5s");
    k_sleep(K_MSEC(5000));

    LOG_INF("Starting WULPUS nRF Firmware of %s (%s)", DEVICE_NAME, CONFIG_BOARD);
    int err;

    LOG_INF("Initializing GPIOs...");
    if (!gpio_is_ready_dt(&led) || !gpio_is_ready_dt(&data_ready) || !gpio_is_ready_dt(&ble_cnfg_ready))
    {
        LOG_ERR("GPIO devices not ready.");
        return 0;
    }
    err =
        gpio_pin_configure_dt(&led, GPIO_OUTPUT_LOW) |
        gpio_pin_configure_dt(&ble_cnfg_ready, GPIO_OUTPUT_LOW) |
        gpio_pin_configure_dt(&data_ready, GPIO_INPUT);
    if (err < 0)
    {
        LOG_ERR("Error configuring GPIO pins");
        return 0;
    }

    // Register callback first, then enable interrupt to avoid missing edges during setup
    LOG_INF("Setting up data-ready callback");
    gpio_init_callback(&data_ready_cb, gpio_interrupt_handler, BIT(data_ready.pin));
    err = gpio_add_callback_dt(&data_ready, &data_ready_cb);
    if (err)
    {
        LOG_ERR("Error setting up callback: %d", err);
        return err;
    }

    LOG_INF("Setting up Bluetooth LE");
    err = bt_nus_init(&nus_callbacks);
    if (err)
    {
        LOG_ERR("Failed to register Bluetooth NUS callback: %d\n", err);
        return err;
    }
    err = bt_enable(NULL);
    if (err)
    {
        LOG_ERR("Failed to enable Bluetooth: %d\n", err);
        return err;
    }

    LOG_INF("Reading config to prepare for Bluetooth LE Mesh");
    if (IS_ENABLED(CONFIG_HWINFO))
    {
        size_t id_len = hwinfo_get_device_id(dev_uuid, sizeof(dev_uuid));
        if (!IS_ENABLED(CONFIG_BT_MESH_DK_LEGACY_UUID_GEN))
        {
            /* If device ID is shorter than UUID size, fill rest of buffer with
             * inverted device ID.
             */
            for (size_t i = id_len; i < sizeof(dev_uuid); i++)
            {
                dev_uuid[i] = dev_uuid[i % id_len] ^ 0xff;
            }
        }
        dev_uuid[6] = (dev_uuid[6] & BIT_MASK(4)) | BIT(6);
        dev_uuid[8] = (dev_uuid[8] & BIT_MASK(6)) | BIT(7);
    }
    else
    {
        LOG_ERR("HWINFO not enable - using default UUIDd");
        dev_uuid[0] = 0xdd;
        dev_uuid[1] = 0xdd;
    }

    LOG_INF("Setting up Bluetooth LE Mesh");
    err = bt_mesh_init(&prov, &comp);
    if (err)
    {
        LOG_ERR("Initializing mesh failed (err %d)\n", err);
        return err;
    }
    if (IS_ENABLED(CONFIG_SETTINGS))
    {
        LOG_INF("restoring the Bluetooth state (e.g. pairing keys)");
        settings_load();
    }
    else
    {
        LOG_WRN("CONFIG_BT_SETTINGS not enabled - won't restore Bluetooth state");
    }

    /* This will be a no-op if settings_load() loaded provisioning info */
    bt_mesh_prov_enable(static_cast<bt_mesh_prov_bearer_t>(BT_MESH_PROV_ADV | BT_MESH_PROV_GATT));
    printk("Mesh initialized\n");

    LOG_INF("Starting BLE advertisement");
    err = start_advertise();
    if (err)
    {
        return err;
    }

    us_spi_init();

    // Enable interrupt on rising edge (SPI thread already running)
    err = gpio_pin_interrupt_configure_dt(&data_ready, GPIO_INT_EDGE_TO_ACTIVE);
    if (err < 0)
    {
        LOG_ERR("Error configuring interrupt: %d", err);
        return 0;
    }

    // Initial check if pin is already active -> manually trigger the interrupt (as edge has already passed)
    if (gpio_pin_get_dt(&data_ready) > 0)
    {
        LOG_INF("MSP has data already ready. Triggering data_ready_cb manually once.");
        gpio_interrupt_handler(data_ready.port, &data_ready_cb, BIT(data_ready.pin));
    }

    while (1)
    {
        k_sleep(K_MSEC(1000));
    }

    return 0;
}
```

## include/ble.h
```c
#ifndef BLE_H
#define BLE_H

#include <zephyr/bluetooth/bluetooth.h>
#include <zephyr/bluetooth/conn.h>
#include <zephyr/drivers/gpio.h>
#include <zephyr/kernel.h>

// --- Types ---
struct __packed ble_msg_header
{
    uint32_t timestamp; // Sequence ID (Microseconds)
    uint16_t length;    // Chunk Index
    uint16_t addr;      // Sensor address (mesh node address)
};
typedef struct ble_msg_header ble_msg_header;
#define BLE_HEADER_SZE sizeof(ble_msg_header)
#define BLE_MAX_PAYLOAD_SIZE 800

// --- Definitions ---
#define BLE_SINGLE_PCKT_SIZE 200
#define BLE_PCKT_SEND_SIZE (201 * 4) // BYTES_PR_XFER_RX * CHUNKS_PER_FRAME
#define BLE_TX_QUEUE_SIZE 5

// --- Externs ---
extern struct k_msgq ble_tx_msgq;
extern struct bt_conn *current_conn;
extern const struct gpio_dt_spec ble_cnfg_ready;

// --- Functions ---
void ble_init_device_name(const uint8_t *dev_uuid);
int start_advertise(void);
void ble_tx_thread(void);

// Callbacks
extern struct bt_conn_cb conn_callbacks;
extern struct bt_nus_cb nus_callbacks;

#endif // BLE_H
```

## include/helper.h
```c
#include <bluetooth/mesh/models.h>

bool own_message(const struct bt_mesh_model *model, const struct bt_mesh_msg_ctx *ctx);
void apply_config(uint8_t *const data, uint16_t len);
```

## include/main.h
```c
#ifndef MAIN_H
#define MAIN_H

#include <stdint.h>
#include <zephyr/device.h>
#include <zephyr/devicetree.h>
#include <zephyr/drivers/gpio.h>
#include <zephyr/kernel.h>

// --- GPIO Definitions -------------------------
#define LED_NODE DT_ALIAS(led0)
#define DATA_READY_NODE DT_ALIAS(data_ready)
#define BLE_CNFG_READY_NODE DT_ALIAS(ble_cnfg_ready)
#define DEBUG_LED_NODE DT_ALIAS(debug_led)

// --- SPIM Definitions -------------------------
#define SPI_NODE DT_ALIAS(spi_conn)

#if DT_NODE_EXISTS(DT_NODELABEL(spi1))
#define SPIM_INST_IDX 1
#define SS_PIN 15
#elif DT_NODE_EXISTS(DT_NODELABEL(spi20))
#define SPIM_INST_IDX 20
#define SS_PIN NRF_GPIO_PIN_MAP(2, 5)
#else
#error "No compatible SPI instance found (spi1 or spi20)"
#endif

#define SPI_1_PRIO 1
#define TRANSFER_INTERVAL_US \
  300 // Time between SPI transfers (300µs as in old firmware)

// --- Bluetooth Definitions --------------------
#define DEVICE_NAME_BASE "WULPUS_PROBE"
#define DEVICE_NAME_MAX_LEN 30
extern char device_name[DEVICE_NAME_MAX_LEN];
extern uint8_t device_name_len;

// --- Thread Priorities ------------------------
#define MESH_TX_TASK_PRIO 3
#define BLE_TASK_PRIO 2
#define SPI_TASK_PRIO 1

// --- Global GPIO Specs ------------------------
extern const struct gpio_dt_spec ble_cnfg_ready;
extern const struct gpio_dt_spec led;
extern const struct gpio_dt_spec data_ready;
extern int64_t last_gpio_interrupt_time;

#endif // MAIN_H
```

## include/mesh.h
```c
#ifndef MESH_H
#define MESH_H

#include "ble.h"
#include <bluetooth/mesh/models.h>
#include <zephyr/bluetooth/mesh.h>
#include <zephyr/kernel.h>

// --- Definitions ---
#define BT_MESH_VND_MODEL_ID_WULPUS                                            \
  0x0001 // One custom model with multiple opcodes (functionality)
#define BT_MESH_VND_ID BT_COMP_ID_LF
#define BT_MESH_VND_OP_WULPUS_FRAMECHUNK                                       \
  BT_MESH_MODEL_OP_3(0xC2, BT_MESH_VND_ID)
#define BT_MESH_VND_OP_WULPUS_START_CONFIG                                     \
  BT_MESH_MODEL_OP_3(0xC3, BT_MESH_VND_ID)
#define BT_MESH_VND_OP_WULPUS_GATEWAY_UPDATE                                   \
  BT_MESH_MODEL_OP_3(0xC4, BT_MESH_VND_ID)
#define BT_MESH_VND_OP_WULPUS_GATEWAY_REQ                                      \
  BT_MESH_MODEL_OP_3(0xC5, BT_MESH_VND_ID)

#define MESH_TX_QUEUE_SIZE 5
#define WULPUS_GROUP_ADDR 0xC000

// --- DEBUG ---
static const uint8_t net_key[16] = {
    0x01, 0x23, 0x45, 0x67, 0x89, 0xab, 0xcd, 0xef,
    0x01, 0x23, 0x45, 0x67, 0x89, 0xab, 0xcd, 0xef,
};
static const uint8_t dev_key[16] = {
    0x01, 0x23, 0x45, 0x67, 0x89, 0xab, 0xcd, 0xef,
    0x01, 0x23, 0x45, 0x67, 0x89, 0xab, 0xcd, 0xef,
};
static const uint8_t app_key[16] = {
    0x01, 0x23, 0x45, 0x67, 0x89, 0xab, 0xcd, 0xef,
    0x01, 0x23, 0x45, 0x67, 0x89, 0xab, 0xcd, 0xef,
};

// --- Types ---
struct frame_chunk_header {
  uint32_t timestamp; // Sequence ID (Microseconds)
  uint8_t offset;     // Chunk Index (1/2 x index of 16-byte blocks) -> bytes = offset * 4
  uint8_t size;       // Count of uint16 elements  -> bytes = size * 2
} __packed;
typedef struct frame_chunk_header frame_chunk_header;

struct frame_header
{
  uint32_t timestamp; // Sequence ID (Microseconds)
  uint16_t size;      // Count of bytes
  uint16_t addr;      // sender address
} __packed;
typedef struct frame_header frame_header;

struct frame_chunk {
  frame_header header;
  uint8_t data[BLE_PCKT_SEND_SIZE];
} __packed;
typedef struct frame_chunk frame_chunk;

struct config_frame {
  uint8_t data[BLE_SINGLE_PCKT_SIZE];
} __packed;
typedef struct config_frame config_frame;

// --- Externs ---
extern struct k_msgq mesh_tx_msgq;
extern struct bt_mesh_model *vnd_model;
extern struct k_mutex mesh_pub_mutex;
extern bool i_am_gateway;

// --- Functions ---
extern const struct bt_mesh_prov prov;
void mesh_tx_thread(void);
int mesh_publish_self_gateway();
int mesh_send_gateway_addr(uint16_t addr);
int mesh_publish_config(const uint8_t *config_data, size_t len);
int mesh_publish_config(const uint8_t *config_data, size_t len);
void mesh_request_gateway_addr(void);
void mesh_set_time_authority(void);
void mesh_unset_time_authority(void);
uint32_t mesh_get_network_timestamp(void);
extern const struct bt_mesh_comp comp;
extern uint8_t dev_uuid[16];

#endif // MESH_H
```

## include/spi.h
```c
#ifndef SPI_H
#define SPI_H

#include <zephyr/drivers/gpio.h>
#include <zephyr/kernel.h>

// --- Definitions ---
#define BYTES_PR_XFER_RX 201
#define BYTES_PR_XFER_TX 201
#define CHUNKS_PER_FRAME 4
#define MIN_INTERRUPT_INTERVAL_MS 15

#define SPI_PINCTRL_NODE DT_CHILD(DT_PINCTRL_0(SPI_NODE, 0), group1)

// Extract port (bits 5-9) and pin (bits 0-4) from NRF_PSEL format
#define NRF_GET_PORT(psel) (((psel) >> 5) & 0x1F)
#define NRF_GET_PIN(psel) ((psel) & 0x1F)
#define PSEL_TO_PIN(psel) NRF_GPIO_PIN_MAP(NRF_GET_PORT(psel), NRF_GET_PIN(psel))

#define MOSI_PIN PSEL_TO_PIN(DT_PROP_BY_IDX(SPI_PINCTRL_NODE, psels, 0))
#define MISO_PIN PSEL_TO_PIN(DT_PROP_BY_IDX(SPI_PINCTRL_NODE, psels, 1))
#define SCK_PIN PSEL_TO_PIN(DT_PROP_BY_IDX(SPI_PINCTRL_NODE, psels, 2))

// --- Externs ---
extern uint8_t m_tx_buffer[BYTES_PR_XFER_TX * CHUNKS_PER_FRAME];
extern uint8_t m_rx_buffer[BYTES_PR_XFER_RX * CHUNKS_PER_FRAME];

extern struct k_sem data_ready_trigger_sem;
extern struct k_sem single_session;
extern struct k_mutex tx_buffer_mutex;

// --- Functions ---
void us_spi_init(void);
void spi_session_thread(void);

#endif // SPI_H
```

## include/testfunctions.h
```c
#include <stdbool.h>
#include <stdint.h>
#include <zephyr/kernel.h>
#include <zephyr/sys/atomic.h>

void rand_sender_thread(void);
void send_random_data(uint8_t tx_rx_id, uint16_t meas_frame_nr,
                      struct k_msgq *ble_tx_msgq);

void mesh_rand_sender_thread(void);
void set_mesh_job_state(bool active);

extern uint32_t mesh_rand_sender_period_ms;
```

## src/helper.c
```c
#include "helper.h"
#include "main.h"
#include "spi.h"
#include "testfunctions.h"

#include <zephyr/bluetooth/bluetooth.h>
#include <zephyr/logging/log.h>

LOG_MODULE_REGISTER(helper);

bool own_message(const struct bt_mesh_model *model, const struct bt_mesh_msg_ctx *ctx)
{
  const struct bt_mesh_elem *elem = bt_mesh_model_elem(model);
  return elem->rt->addr == ctx->addr;
}

void apply_config(uint8_t *const data, uint16_t len)
{
  LOG_INF("Applying new configuration. Len: %d", len);

  // Simulate job start/stop based on config length
  if (len == 0)
  {
    LOG_WRN("Empty configuration received; ignoring.");
    return;
  }
  if (data[0] == 0xfa)
  {
    LOG_INF("Starting mesh job as per configuration.");
    set_mesh_job_state(true);

    uint16_t interval_clcks = data[3] | (data[4] << 8);
    mesh_rand_sender_period_ms = (uint32_t)interval_clcks * 2000 / 65535;
    LOG_INF("(interval set to %d ms)", mesh_rand_sender_period_ms);
  }
  else
  {
    LOG_INF("Stopping mesh job as per configuration.");
    set_mesh_job_state(false);
  }

  LOG_HEXDUMP_INF(data, len, "NUS RX");
  k_mutex_lock(&tx_buffer_mutex, K_FOREVER);
  memset(m_tx_buffer, 0, BYTES_PR_XFER_TX * CHUNKS_PER_FRAME); // Clear old data
  memcpy(m_tx_buffer, data, len);
  k_mutex_unlock(&tx_buffer_mutex);

  LOG_INF("Inform MSP about new configuration (ble_cnfg_ready to high)");
  int err = gpio_pin_set_dt(&ble_cnfg_ready, 1);
  if (err)
  {
    LOG_ERR("Failed to set BLE configuration ready pin: %d", err);
  }
}
```

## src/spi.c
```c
#include "spi.h"
#include "ble.h"
#include "main.h"
#include "mesh.h"
#include <hal/nrf_spim.h>
#include <nrfx_spim.h>
#include <zephyr/drivers/gpio.h>
#include <zephyr/kernel.h>
#include <zephyr/bluetooth/mesh.h>
#include <zephyr/logging/log.h>

LOG_MODULE_REGISTER(spi);

// --- Globals ---
uint8_t m_tx_buffer[BYTES_PR_XFER_TX * CHUNKS_PER_FRAME] = {0};
uint8_t m_rx_buffer[BYTES_PR_XFER_RX * CHUNKS_PER_FRAME] = {0};

K_MUTEX_DEFINE(tx_buffer_mutex); // Defined here, used by BLE/Mesh

static const nrfx_spim_t spim_inst = NRFX_SPIM_INSTANCE(SPIM_INST_IDX);

// Semaphore to serialize sessions triggered by the data-ready IRQ
K_SEM_DEFINE(single_session, 1, 1);
// Semaphore signaled on SPI transfer completion
static K_SEM_DEFINE(spi_done_sem, 0, CHUNKS_PER_FRAME);
// Semaphore to trigger SPI session thread from GPIO interrupt
K_SEM_DEFINE(data_ready_trigger_sem, 0, 1);

// --- Functions ---

static void spim_handler(nrfx_spim_evt_t const *p_event, void *p_context) {
  if (p_event->type == NRFX_SPIM_EVENT_DONE) {
    // Signal that transfer is complete
    k_sem_give(&spi_done_sem);
  }
}

void us_spi_init(void) {
  LOG_INF("Starting SPI initialization");
  nrfx_err_t err;

  // Initialize SPIM
  nrfx_spim_config_t spim_config =
      NRFX_SPIM_DEFAULT_CONFIG(SCK_PIN, MOSI_PIN, MISO_PIN, SS_PIN);
  spim_config.frequency = NRFX_MHZ_TO_HZ(8);
  spim_config.mode = NRF_SPIM_MODE_1;
  spim_config.bit_order = NRF_SPIM_BIT_ORDER_MSB_FIRST;
  spim_config.irq_priority = SPI_1_PRIO;
  err = nrfx_spim_init(&spim_inst, &spim_config, spim_handler, NULL);
  if (err != NRFX_SUCCESS) {
    LOG_ERR("Failed to initialize SPIM instance %d with err: %d", SPIM_INST_IDX,
            err);
    return;
  }

  IRQ_DIRECT_CONNECT(NRFX_IRQ_NUMBER_GET(NRF_SPIM_INST_GET(SPIM_INST_IDX)),
                     IRQ_PRIO_LOWEST, NRFX_SPIM_INST_HANDLER_GET(SPIM_INST_IDX),
                     0);
  irq_enable(NRFX_IRQ_NUMBER_GET(NRF_SPIM_INST_GET(SPIM_INST_IDX)));

  LOG_INF("SPI init complete");
}

void spi_session_thread(void) {
  LOG_INF("SPI session thread spawned");
  uint16_t my_addr = bt_mesh_primary_addr();

  while (1) {
    // Wait for GPIO interrupt to trigger a session
    LOG_INF("Waiting for SPI trigger...");
    k_sem_take(&data_ready_trigger_sem, K_FOREVER);
    LOG_INF("SPI session thread activated");

    // Ensure only one read session runs at a time (serialize sessions)
    if (k_sem_take(&single_session, K_NO_WAIT) != 0) {
      LOG_WRN("SPI session already in progress; skipping trigger");
      continue;
    }

    LOG_INF("Starting SPI session - single 804-byte transfer");

    // Single transfer for all 804 bytes (4 * 201)
    // Hardware limitation is 255 bytes per transfer, so we still need multiple
    // calls BUT we set up the descriptor once per session
    nrfx_spim_xfer_desc_t xfer = NRFX_SPIM_XFER_TRX(
        m_tx_buffer, BYTES_PR_XFER_TX, m_rx_buffer, BYTES_PR_XFER_RX);

    bool xfer_failed = false;
    for (int i = 0; i < CHUNKS_PER_FRAME; i++) {
      // Update pointers for this chunk (manual increment since HW has 255-byte
      // limit)
      xfer.p_tx_buffer = &m_tx_buffer[i * BYTES_PR_XFER_TX];
      xfer.p_rx_buffer = &m_rx_buffer[i * BYTES_PR_XFER_RX];

      nrfx_err_t nerr =
          nrfx_spim_xfer(&spim_inst, &xfer, NRFX_SPIM_FLAG_REPEATED_XFER);
      if (nerr != NRFX_SUCCESS) {
        LOG_ERR("SPI xfer %d start failed: %d", i, nerr);
        xfer_failed = true;
        break;
      }

      // Wait for this chunk to complete
      if (k_sem_take(&spi_done_sem, K_MSEC(100)) != 0) {
        LOG_ERR("SPI xfer %d timeout", i);
        xfer_failed = true;
        break;
      }
    }

    if (!xfer_failed) {
      LOG_INF("SPI session complete");
      LOG_INF("SPI RX: SOF=0x%02X, tx_rx_id=%d, frame_nr=%d", m_rx_buffer[0],
              m_rx_buffer[1], (m_rx_buffer[3] << 8) | m_rx_buffer[2]);

      bool all_zero = true;
      for (int i = 4; i < 100; i++) {
        if (m_rx_buffer[i] != 0) {
          all_zero = false;
          break;
        }
      }
      if (all_zero) {
        LOG_WRN("Frame appears to be empty/stopped - NOT enqueueing");
        k_sem_give(&single_session);
        continue; // Don't enqueue empty frames
      }

      // Build one full frame and enqueue as a single item
      frame_chunk chunk = {0};
      chunk.header.timestamp = k_uptime_get_32();
      chunk.header.size = BLE_PCKT_SEND_SIZE;
      chunk.header.addr = my_addr;
      memcpy(&chunk.data, m_rx_buffer, BLE_PCKT_SEND_SIZE);

      uint8_t queue_used =
          BLE_TX_QUEUE_SIZE - k_msgq_num_free_get(&mesh_tx_msgq);
      LOG_INF("Mesh queue depth used: %d/%d", queue_used, MESH_TX_QUEUE_SIZE);

      int qerr = k_msgq_put(&mesh_tx_msgq, &chunk, K_MSEC(10));
      if (qerr != 0) {
        LOG_WRN("Mesh TX queue full; dropping full frame (err %d)", qerr);
      }
    }
    // Release session gate
    k_sem_give(&single_session);
  }
}
```
